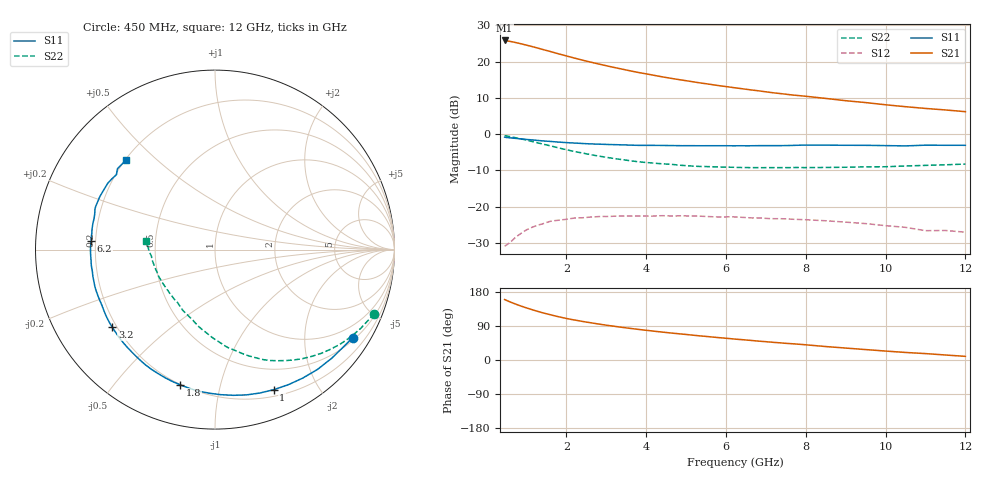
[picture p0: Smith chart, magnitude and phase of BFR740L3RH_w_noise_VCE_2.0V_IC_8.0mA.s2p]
! (c) 2012  Infineon Technologies AG, Munich
! Infineon Technologies  Discrete & RF Semiconductors
! BFR740L3RH
! VCE =  2.0 V,  IC =  8.0 mA
! Common Emitter S-Parameters:  May 2012
# GHz  S  MA  R  50
!  f  S11  S21  S12  S22
! GHz  MAG  ANG  MAG  ANG  MAG  ANG  MAG  ANG
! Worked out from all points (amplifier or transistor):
!   85 points, 450 MHz to 12 GHz, reference 50 ohm
!   highest |S21| = 25.8 dB at 450 MHz (marker M1)
!   |S21| within 3 dB of that: start of sweep to 1.58 GHz
!   unconditionally stable (mu >= 1): 8.531 GHz to end of sweep
!   at 1.8 GHz: K = 0.17, MSG = 22.9 dB, |S12| = -23.7 dB
!   at 4.6 GHz: K = 0.45, MSG = 19.0 dB, |S12| = -22.5 dB
!   at 12 GHz: K = 2.25, MAG = 10.3 dB, |S12| = -27.0 dB
!   lowest NFmin = 0.51 dB at 450 MHz
!   S11 on the Smith chart (normalised r, x): 450 MHz: 0.59, -3.32; 1 GHz: 0.27, -1.47; 1.8 GHz: 0.20, -0.76; 3.2 GHz: 0.18, -0.33; 6.2 GHz: 0.18, +0.03; 12 GHz: 0.20, +0.40
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0.45  0.9096 -32.6  19.53 159.5  0.0287 70.7  0.9545 -21.9
0.6  0.8886 -42.9  18.9 152.7  0.0328 65.1  0.9228 -28.4
0.7  0.8784 -49.5  18.42 148.6  0.0369 61.2  0.8998 -32.7
0.8  0.8669 -55.7  17.9 144.6  0.0408 58.4  0.8755 -36.8
1  0.8463 -67.3  16.82 137.4  0.0482 52.8  0.8273 -44.3
1.2  0.8283 -77.8  15.77 130.8  0.0538 46.5  0.7789 -51.3
1.4  0.8092 -87.5  14.71 124.7  0.0582 41.6  0.7324 -57.6
1.6  0.7947 -96.0  13.73 119.4  0.0632 37.9  0.6899 -63.6
1.8  0.7779 -104.4  12.79 114.2  0.0653 33.1  0.6486 -68.8
2.1  0.7597 -114.8  11.55 107.5  0.0687 28.7  0.5941 -75.9
2.4  0.7446 -123.8  10.46 101.8  0.0706 24.3  0.5504 -82.5
2.8  0.729 -134.0  9.277 95.0  0.0733 19.5  0.5005 -90.0
3.2  0.7178 -142.9  8.288 89.0  0.0743 15.9  0.4623 -96.7
3.7  0.7044 -152.3  7.26 82.1  0.0744 11.7  0.4238 -104.9
4.3  0.7007 -161.5  6.308 74.8  0.0752 8.0  0.3948 -112.9
5.3  0.6934 -174.7  5.132 64.1  0.0746 2.4  0.3603 -125.9
6.2  0.6921 175.9  4.372 55.4  0.0727 -2.3  0.35 -136.7
6.3  0.6927 174.9  4.299 54.5  0.0722 -2.5  0.3484 -137.9
7.2  0.6956 166.7  3.707 46.5  0.0686 -5.8  0.3463 -148.1
8.5  0.7065 155.4  3.107 35.5  0.0642 -10.9  0.3481 -161.5
10.5  0.6898 142.7  2.391 19.9  0.0521 -13.8  0.3648 -177.6
12  0.7029 135.0  2.042 9.6  0.0447 -5.1  0.388 172.7
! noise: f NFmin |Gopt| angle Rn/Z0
0.45  0.51  0.33  3  0.13
0.9  0.52  0.33  15  0.12
1.5  0.54  0.32  31  0.11
1.9  0.56  0.33  40  0.11
2.4  0.59  0.35  51  0.11
3.5  0.66  0.35  69  0.09
5.5  0.83  0.37  100  0.09
8  1.06  0.35  140  0.08
10  1.24  0.37  165  0.06
12  1.43  0.41  -161  0.06
